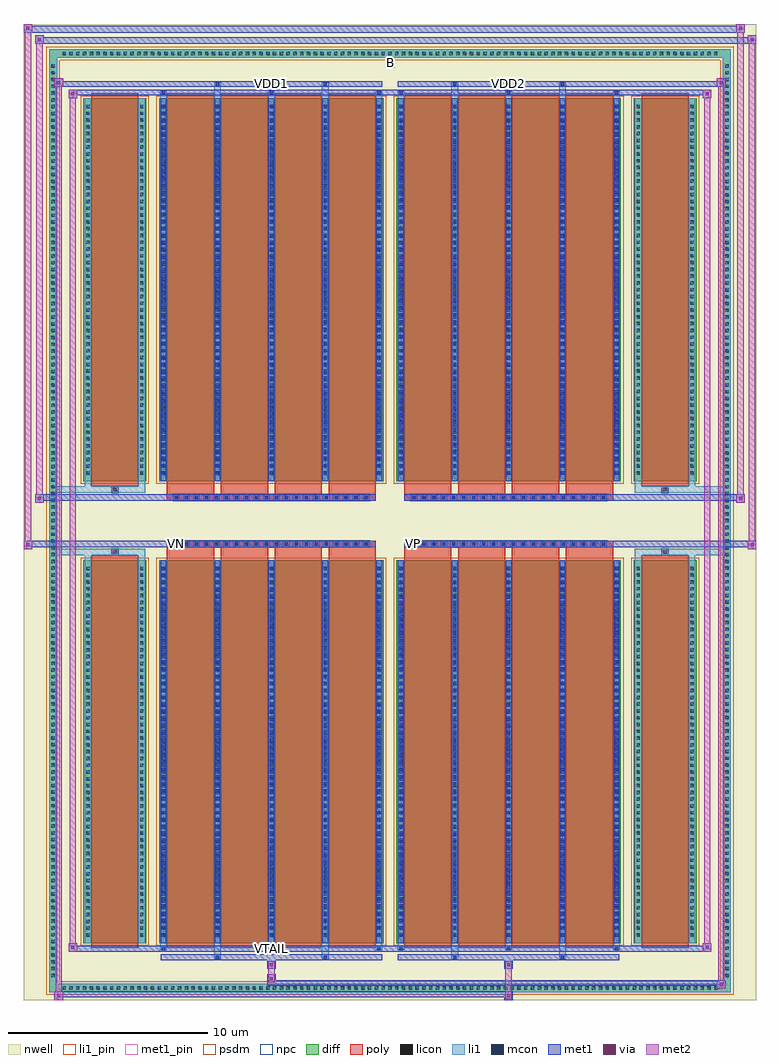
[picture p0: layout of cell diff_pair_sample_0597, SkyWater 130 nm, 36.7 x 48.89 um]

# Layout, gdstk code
import gdstk
lib = gdstk.Library(unit=1e-6, precision=5e-09)
def R(c, l, rs):  # rectangles x0, y0, x1, y1
    for r in rs: c.add(gdstk.rectangle(r[:2], r[2:], *l))
def A(c, l, x, y, w, h, nx, ny, dx, dy):  # array of equal rectangles
    R(c, l, [(x+i*dx, y+j*dy, x+i*dx+w, y+j*dy+h) for i in range(nx) for j in range(ny)])
def P(c, l, *ps):  # polygons
    for p in ps: c.add(gdstk.Polygon(p, *l))
nwell = (64, 20)
diff = (65, 20)
poly = (66, 20)
licon = (66, 44)
li1_pin = (67, 16)
li1 = (67, 20)
mcon = (67, 44)
met1_pin = (68, 16)
met1 = (68, 20)
via = (68, 44)
met2 = (69, 20)
psdm = (94, 20)
npc = (95, 20)

diff_pair_sample_0597 = lib.new_cell('diff_pair_sample_0597')
R(diff_pair_sample_0597, nwell, [(-18.35,-24.01,18.35,24.88), (-15.67,-22.2,-0.01,-0.8), (0.01,-22.2,15.67,-0.8), (-15.67,0.8,-0.01,22.2), (0.01,0.8,15.67,22.2)])
A(diff_pair_sample_0597, diff, -16.525, -23.61, 0.41, 0.41, 97, 2, 0.34, 46.81)
A(diff_pair_sample_0597, diff, -17.08, -22.985, 0.41, 0.41, 1, 135, 0, 0.34)
A(diff_pair_sample_0597, diff, 16.67, -22.985, 0.41, 0.41, 1, 135, 0, 0.34)
R(diff_pair_sample_0597, diff, [(-16.525,-23.61,16.525,-23.2), (-17.08,-22.985,-16.67,22.985), (16.67,-22.985,17.08,22.985), (-15.36,-21.155,-12.21,-1.985), (-11.57,-21.155,-0.32,-1.985), (0.32,-21.155,11.57,-1.985), (12.21,-21.155,15.36,-1.985), (-15.36,1.985,-12.21,21.155), (-11.57,1.985,-0.32,21.155), (0.32,1.985,11.57,21.155), (12.21,1.985,15.36,21.155), (-16.525,23.2,16.525,23.61)])
P(diff_pair_sample_0597, diff, [(17.08,23.61),(-17.08,23.61),(-17.08,-23.2),(-16.67,-23.2),(-16.67,23.2),(16.67,23.2),(16.67,-23.2),(-16.67,-23.2),(-17.08,-23.2),(-17.08,-23.61),(17.08,-23.61)])
A(diff_pair_sample_0597, poly, -11.18, -21.405, 2.37, 19.67, 4, 2, 2.7, 23.14)
A(diff_pair_sample_0597, poly, 0.71, -21.405, 2.37, 19.67, 4, 2, 2.7, 23.14)
A(diff_pair_sample_0597, poly, -11.18, -1.735, 2.37, 0.405, 4, 2, 2.7, 3.065)
A(diff_pair_sample_0597, poly, 0.71, -1.735, 2.37, 0.405, 4, 2, 2.7, 3.065)
A(diff_pair_sample_0597, poly, -10.86, -1.33, 0.33, 0.33, 20, 2, 0.5, 2.33)
A(diff_pair_sample_0597, poly, 1.03, -1.33, 0.33, 0.33, 20, 2, 0.5, 2.33)
R(diff_pair_sample_0597, poly, [(-14.97,-21.405,-12.6,-1.735), (12.6,-21.405,14.97,-1.735), (-13.95,-1.735,-13.62,-1.405), (-13.95,-1.735,-13.62,-1.405), (13.62,-1.735,13.95,-1.405), (13.62,-1.735,13.95,-1.405), (-11.18,-1.33,-0.71,-1), (0.71,-1.33,11.18,-1), (-11.18,1,-0.71,1.33), (0.71,1,11.18,1.33), (-13.95,1.405,-13.62,1.735), (-13.95,1.405,-13.62,1.735), (13.62,1.405,13.95,1.735), (13.62,1.405,13.95,1.735), (-14.97,1.735,-12.6,21.405), (12.6,1.735,14.97,21.405)])
A(diff_pair_sample_0597, licon, -16.405, -23.49, 0.17, 0.17, 97, 2, 0.34, 46.81)
A(diff_pair_sample_0597, licon, -16.96, -22.865, 0.17, 0.17, 1, 135, 0, 0.34)
A(diff_pair_sample_0597, licon, 16.79, -22.865, 0.17, 0.17, 1, 135, 0, 0.34)
A(diff_pair_sample_0597, licon, -15.22, -20.835, 0.17, 0.17, 1, 55, 0, 0.34)
A(diff_pair_sample_0597, licon, -12.52, -20.835, 0.17, 0.17, 1, 55, 0, 0.34)
A(diff_pair_sample_0597, licon, -11.43, -20.835, 0.17, 0.17, 5, 55, 2.7, 0.34)
A(diff_pair_sample_0597, licon, 0.46, -20.835, 0.17, 0.17, 5, 55, 2.7, 0.34)
A(diff_pair_sample_0597, licon, 12.35, -20.835, 0.17, 0.17, 1, 55, 0, 0.34)
A(diff_pair_sample_0597, licon, 15.05, -20.835, 0.17, 0.17, 1, 55, 0, 0.34)
A(diff_pair_sample_0597, licon, -10.78, -1.25, 0.17, 0.17, 20, 2, 0.5, 2.33)
A(diff_pair_sample_0597, licon, 1.11, -1.25, 0.17, 0.17, 20, 2, 0.5, 2.33)
A(diff_pair_sample_0597, licon, -15.22, 2.305, 0.17, 0.17, 1, 55, 0, 0.34)
A(diff_pair_sample_0597, licon, -12.52, 2.305, 0.17, 0.17, 1, 55, 0, 0.34)
A(diff_pair_sample_0597, licon, -11.43, 2.305, 0.17, 0.17, 5, 55, 2.7, 0.34)
A(diff_pair_sample_0597, licon, 0.46, 2.305, 0.17, 0.17, 5, 55, 2.7, 0.34)
A(diff_pair_sample_0597, licon, 12.35, 2.305, 0.17, 0.17, 1, 55, 0, 0.34)
A(diff_pair_sample_0597, licon, 15.05, 2.305, 0.17, 0.17, 1, 55, 0, 0.34)
R(diff_pair_sample_0597, licon, [(-13.87,-1.655,-13.7,-1.485), (13.7,-1.655,13.87,-1.485), (-13.87,1.485,-13.7,1.655), (13.7,1.485,13.87,1.655)])
R(diff_pair_sample_0597, li1_pin, [(-0.25,22.7,0.25,23.2)])
A(diff_pair_sample_0597, li1, -16.485, -23.57, 0.33, 0.33, 97, 2, 0.34, 46.81)
A(diff_pair_sample_0597, li1, -17.04, -22.945, 0.33, 0.33, 1, 135, 0, 0.34)
A(diff_pair_sample_0597, li1, 16.71, -22.945, 0.33, 0.33, 1, 135, 0, 0.34)
A(diff_pair_sample_0597, li1, -11.51, -21.53, 0.33, 0.375, 3, 2, 5.4, 42.685)
A(diff_pair_sample_0597, li1, -11.43, -21.53, 0.17, 0.17, 3, 2, 5.4, 42.89)
A(diff_pair_sample_0597, li1, 0.38, -21.53, 0.33, 0.375, 3, 2, 5.4, 42.685)
A(diff_pair_sample_0597, li1, 0.46, -21.53, 0.17, 0.17, 3, 2, 5.4, 42.89)
A(diff_pair_sample_0597, li1, -11.51, -21.155, 0.33, 19.17, 5, 2, 2.7, 23.14)
A(diff_pair_sample_0597, li1, 0.38, -21.155, 0.33, 19.17, 5, 2, 2.7, 23.14)
A(diff_pair_sample_0597, li1, -15.3, -20.915, 0.33, 0.33, 1, 55, 0, 0.34)
A(diff_pair_sample_0597, li1, -12.6, -20.915, 0.33, 0.33, 1, 55, 0, 0.34)
A(diff_pair_sample_0597, li1, -11.51, -20.915, 0.33, 0.33, 5, 55, 2.7, 0.34)
A(diff_pair_sample_0597, li1, 0.38, -20.915, 0.33, 0.33, 5, 55, 2.7, 0.34)
A(diff_pair_sample_0597, li1, 12.27, -20.915, 0.33, 0.33, 1, 55, 0, 0.34)
A(diff_pair_sample_0597, li1, 14.97, -20.915, 0.33, 0.33, 1, 55, 0, 0.34)
A(diff_pair_sample_0597, li1, -11.43, -20.835, 0.17, 0.17, 5, 52, 2.7, 0.36)
A(diff_pair_sample_0597, li1, -11.43, -20.835, 0.17, 18.53, 5, 2, 2.7, 23.14)
A(diff_pair_sample_0597, li1, 0.46, -20.835, 0.17, 0.17, 5, 52, 2.7, 0.36)
A(diff_pair_sample_0597, li1, 0.46, -20.835, 0.17, 18.53, 5, 2, 2.7, 23.14)
A(diff_pair_sample_0597, li1, -10.86, -1.33, 0.33, 0.33, 20, 2, 0.5, 2.33)
A(diff_pair_sample_0597, li1, 1.03, -1.33, 0.33, 0.33, 20, 2, 0.5, 2.33)
A(diff_pair_sample_0597, li1, -15.3, 2.225, 0.33, 0.33, 1, 55, 0, 0.34)
A(diff_pair_sample_0597, li1, -12.6, 2.225, 0.33, 0.33, 1, 55, 0, 0.34)
A(diff_pair_sample_0597, li1, -11.51, 2.225, 0.33, 0.33, 5, 55, 2.7, 0.34)
A(diff_pair_sample_0597, li1, 0.38, 2.225, 0.33, 0.33, 5, 55, 2.7, 0.34)
A(diff_pair_sample_0597, li1, 12.27, 2.225, 0.33, 0.33, 1, 55, 0, 0.34)
A(diff_pair_sample_0597, li1, 14.97, 2.225, 0.33, 0.33, 1, 55, 0, 0.34)
A(diff_pair_sample_0597, li1, -11.43, 2.305, 0.17, 0.17, 5, 52, 2.7, 0.36)
A(diff_pair_sample_0597, li1, 0.46, 2.305, 0.17, 0.17, 5, 52, 2.7, 0.36)
R(diff_pair_sample_0597, li1, [(-17.08,-23.61,-16.67,-23.2), (-17.08,-23.61,-16.67,-23.2), (-16.67,-23.61,16.67,-23.2), (16.67,-23.61,17.08,-23.2), (16.67,-23.61,17.08,-23.2), (-17.08,-23.2,-16.67,23.2), (16.67,-23.2,17.08,23.2), (-8.81,-21.96,-8.48,-21.155), (-8.73,-21.96,-8.56,-21.79), (-3.41,-21.96,-3.08,-21.155), (-3.33,-21.96,-3.16,-21.79), (3.08,-21.96,3.41,-21.155), (3.16,-21.96,3.33,-21.79), (8.48,-21.96,8.81,-21.155), (8.56,-21.96,8.73,-21.79), (-15.3,-21.155,-14.97,-1.985), (-12.6,-21.155,-12.27,-1.985), (12.27,-21.155,12.6,-1.985), (14.97,-21.155,15.3,-1.985), (-15.3,-1.985,-14.97,-1.405), (-12.6,-1.985,-12.27,-1.405), (12.27,-1.985,12.6,-1.405), (14.97,-1.985,15.3,-1.405), (-17.08,-1.735,-13.95,-1.405), (-15.3,-1.735,-13.95,-1.405), (-13.95,-1.735,-13.62,-1.405), (-13.62,-1.735,-12.27,-1.405), (12.27,-1.735,13.62,-1.405), (13.62,-1.735,13.95,-1.405), (13.62,-1.735,17.08,-1.405), (13.95,-1.735,15.3,-1.405), (-17.08,1.405,-13.95,1.735), (-15.3,1.405,-13.95,1.735), (-15.3,1.405,-14.97,1.985), (-13.95,1.405,-13.62,1.735), (-13.62,1.405,-12.27,1.735), (-12.6,1.405,-12.27,1.985), (12.27,1.405,13.62,1.735), (12.27,1.405,12.6,1.985), (13.62,1.405,13.95,1.735), (13.62,1.405,17.08,1.735), (13.95,1.405,15.3,1.735), (14.97,1.405,15.3,1.985), (-15.3,1.985,-14.97,21.155), (-12.6,1.985,-12.27,21.155), (12.27,1.985,12.6,21.155), (14.97,1.985,15.3,21.155), (-8.81,21.155,-8.48,21.96), (-3.41,21.155,-3.08,21.96), (3.08,21.155,3.41,21.96), (8.48,21.155,8.81,21.96), (-8.73,21.79,-8.56,21.96), (-3.33,21.79,-3.16,21.96), (3.16,21.79,3.33,21.96), (8.56,21.79,8.73,21.96), (-17.08,23.2,-16.67,23.61), (-17.08,23.2,-16.67,23.61), (-16.67,23.2,16.67,23.61), (16.67,23.2,17.08,23.61), (16.67,23.2,17.08,23.61)])
A(diff_pair_sample_0597, mcon, -11.43, -21.53, 0.17, 0.17, 3, 2, 5.4, 42.89)
A(diff_pair_sample_0597, mcon, 0.46, -21.53, 0.17, 0.17, 3, 2, 5.4, 42.89)
A(diff_pair_sample_0597, mcon, -11.43, -20.835, 0.17, 0.17, 5, 52, 2.7, 0.36)
A(diff_pair_sample_0597, mcon, 0.46, -20.835, 0.17, 0.17, 5, 52, 2.7, 0.36)
A(diff_pair_sample_0597, mcon, -10.78, -1.25, 0.17, 0.17, 20, 2, 0.5, 2.33)
A(diff_pair_sample_0597, mcon, 1.11, -1.25, 0.17, 0.17, 20, 2, 0.5, 2.33)
A(diff_pair_sample_0597, mcon, -11.43, 2.305, 0.17, 0.17, 5, 52, 2.7, 0.36)
A(diff_pair_sample_0597, mcon, 0.46, 2.305, 0.17, 0.17, 5, 52, 2.7, 0.36)
R(diff_pair_sample_0597, mcon, [(-8.73,-21.96,-8.56,-21.79), (-3.33,-21.96,-3.16,-21.79), (3.16,-21.96,3.33,-21.79), (8.56,-21.96,8.73,-21.79), (-8.73,21.79,-8.56,21.96), (-3.33,21.79,-3.16,21.96), (3.16,21.79,3.33,21.96), (8.56,21.79,8.73,21.96)])
R(diff_pair_sample_0597, met1_pin, [(-6.08,-21.57,-5.81,-21.3), (-10.83,-1.29,-10.56,-1.02), (1.06,-1.29,1.33,-1.02), (-6.08,21.75,-5.81,22.02), (5.81,21.75,6.08,22.02)])
A(diff_pair_sample_0597, met1, -11.49, -21.59, 0.29, 0.29, 3, 2, 5.4, 42.89)
A(diff_pair_sample_0597, met1, 0.4, -21.59, 0.29, 0.29, 3, 2, 5.4, 42.89)
A(diff_pair_sample_0597, met1, -11.49, -21.155, 0.29, 19.17, 5, 2, 2.7, 23.14)
A(diff_pair_sample_0597, met1, 0.4, -21.155, 0.29, 19.17, 5, 2, 2.7, 23.14)
A(diff_pair_sample_0597, met1, -11.49, -20.895, 0.29, 0.29, 5, 52, 2.7, 0.36)
A(diff_pair_sample_0597, met1, 0.4, -20.895, 0.29, 0.29, 5, 52, 2.7, 0.36)
A(diff_pair_sample_0597, met1, -10.84, -1.31, 0.29, 0.29, 20, 2, 0.5, 2.33)
A(diff_pair_sample_0597, met1, 1.05, -1.31, 0.29, 0.29, 20, 2, 0.5, 2.33)
A(diff_pair_sample_0597, met1, -11.49, 2.245, 0.29, 0.29, 5, 52, 2.7, 0.36)
A(diff_pair_sample_0597, met1, 0.4, 2.245, 0.29, 0.29, 5, 52, 2.7, 0.36)
R(diff_pair_sample_0597, met1, [(-16.81,-24.01,-16.38,-23.58), (5.73,-24.01,6.16,-23.58), (-16.81,-23.87,6.16,-23.58), (16.38,-23.44,16.81,-23.01), (-6.16,-23.3,16.81,-23.01), (-6.16,-23.16,-5.73,-22.73), (-6.16,-22.45,-5.73,-22.02), (5.73,-22.45,6.16,-22.02), (-11.49,-22.02,-0.4,-21.73), (-8.79,-22.02,-8.5,-21.73), (-3.39,-22.02,-3.1,-21.73), (0.4,-22.02,11.49,-21.73), (3.1,-22.02,3.39,-21.73), (8.5,-22.02,8.79,-21.73), (-16.1,-21.59,-15.67,-21.16), (-16.1,-21.59,-11.49,-21.3), (-11.49,-21.59,-0.4,-21.3), (-0.4,-21.59,0.4,-21.3), (0.4,-21.59,11.49,-21.3), (11.49,-21.59,16.1,-21.3), (15.67,-21.59,16.1,-21.16), (-18.35,-1.43,-17.92,-1), (17.92,-1.43,18.35,-1), (-18.35,-1.33,-0.71,-1), (-11.18,-1.33,-0.71,-1), (0.71,-1.33,11.18,-1), (0.71,-1.33,18.35,-1), (-17.78,0.9,-17.35,1.33), (17.35,0.9,17.78,1.33), (-17.78,1,-11.18,1.33), (-11.18,1,-0.71,1.33), (0.71,1,11.18,1.33), (11.18,1,17.78,1.33), (-16.1,21.16,-15.67,21.59), (15.67,21.16,16.1,21.59), (-16.1,21.3,-11.49,21.59), (-11.49,21.3,-0.4,21.59), (-0.4,21.3,0.4,21.59), (0.4,21.3,11.49,21.59), (11.49,21.3,16.1,21.59), (-16.81,21.73,-16.38,22.16), (-16.81,21.73,-11.49,22.02), (-11.49,21.73,-0.4,22.02), (-8.79,21.73,-8.5,22.02), (-3.39,21.73,-3.1,22.02), (0.4,21.73,11.49,22.02), (3.1,21.73,3.39,22.02), (8.5,21.73,8.79,22.02), (11.49,21.73,16.81,22.02), (16.38,21.73,16.81,22.16), (-17.78,23.88,-17.35,24.31), (-17.78,23.88,-15.67,24.21), (-15.67,23.88,15.67,24.21), (15.67,23.88,18.35,24.21), (17.92,23.88,18.35,24.31), (-18.35,24.45,-17.92,24.88), (-18.35,24.45,-15.67,24.78), (-15.67,24.45,15.67,24.78), (15.67,24.45,17.78,24.78), (17.35,24.45,17.78,24.88)])
R(diff_pair_sample_0597, via, [(-16.67,-23.87,-16.52,-23.72), (5.87,-23.87,6.02,-23.72), (16.52,-23.3,16.67,-23.15), (-6.02,-23.02,-5.87,-22.87), (-6.02,-22.31,-5.87,-22.16), (5.87,-22.31,6.02,-22.16), (-15.96,-21.45,-15.81,-21.3), (15.81,-21.45,15.96,-21.3), (-18.21,-1.29,-18.06,-1.14), (18.06,-1.29,18.21,-1.14), (-17.64,1.04,-17.49,1.19), (17.49,1.04,17.64,1.19), (-15.96,21.3,-15.81,21.45), (15.81,21.3,15.96,21.45), (-16.67,21.87,-16.52,22.02), (16.52,21.87,16.67,22.02), (-17.64,24.02,-17.49,24.17), (18.06,24.02,18.21,24.17), (-18.21,24.59,-18.06,24.74), (17.49,24.59,17.64,24.74)])
R(diff_pair_sample_0597, met2, [(-16.81,-24.01,-16.38,-23.58), (-16.74,-24.01,-16.45,22.16), (-16.45,-24.01,-16.38,-23.58), (-16.76,-23.96,-16.43,-23.63), (5.78,-23.96,6.11,-23.63), (5.78,-23.63,6.11,-22.4), (16.38,-23.44,16.81,-23.01), (16.45,-23.44,16.74,22.16), (16.74,-23.44,16.81,-23.01), (16.43,-23.39,16.76,-23.06), (-6.11,-23.11,-5.78,-22.78), (-6.11,-22.78,-5.78,-22.4), (-6.11,-22.4,-5.78,-22.07), (5.78,-22.4,6.11,-22.07), (-16.1,-21.59,-15.67,-21.16), (-16.03,-21.59,-15.74,21.59), (-15.74,-21.59,-15.67,-21.16), (15.67,-21.59,16.1,-21.16), (15.74,-21.59,16.03,21.59), (16.03,-21.59,16.1,-21.16), (-16.05,-21.54,-15.72,-21.21), (15.72,-21.54,16.05,-21.21), (-18.35,-1.43,-17.92,-1), (-18.3,-1.43,-17.97,24.88), (-17.97,-1.43,-17.92,-1), (17.92,-1.43,18.35,-1), (17.97,-1.43,18.3,24.31), (18.3,-1.43,18.35,-1), (-18.3,-1.38,-17.97,-1.05), (17.97,-1.38,18.3,-1.05), (-17.78,0.9,-17.35,1.33), (-17.73,0.9,-17.4,24.31), (-17.4,0.9,-17.35,1.33), (17.35,0.9,17.78,1.33), (17.4,0.9,17.73,24.88), (17.73,0.9,17.78,1.33), (-17.73,0.95,-17.4,1.28), (17.4,0.95,17.73,1.28), (-16.1,21.16,-15.67,21.59), (-15.74,21.16,-15.67,21.59), (15.67,21.16,16.1,21.59), (16.03,21.16,16.1,21.59), (-16.05,21.21,-15.72,21.54), (15.72,21.21,16.05,21.54), (-16.81,21.73,-16.38,22.16), (-16.45,21.73,-16.38,22.16), (16.38,21.73,16.81,22.16), (16.74,21.73,16.81,22.16), (-16.76,21.78,-16.43,22.11), (16.43,21.78,16.76,22.11), (-17.78,23.88,-17.35,24.31), (-17.4,23.88,-17.35,24.31), (17.92,23.88,18.35,24.31), (18.3,23.88,18.35,24.31), (-17.73,23.93,-17.4,24.26), (17.97,23.93,18.3,24.26), (-18.35,24.45,-17.92,24.88), (-17.97,24.45,-17.92,24.88), (17.35,24.45,17.78,24.88), (17.73,24.45,17.78,24.88), (-18.3,24.5,-17.97,24.83), (17.4,24.5,17.73,24.83)])
R(diff_pair_sample_0597, psdm, [(-15.49,-21.285,-12.08,-1.855), (-11.7,-21.285,-0.19,-1.855), (0.19,-21.285,11.7,-1.855), (12.08,-21.285,15.49,-1.855), (-15.49,1.855,-12.08,21.285), (-11.7,1.855,-0.19,21.285), (0.19,1.855,11.7,21.285), (12.08,1.855,15.49,21.285)])
P(diff_pair_sample_0597, psdm, [(17.21,23.74),(-17.21,23.74),(-17.21,-23.07),(-16.54,-23.07),(-16.54,23.07),(16.54,23.07),(16.54,-23.07),(-16.54,-23.07),(-17.21,-23.07),(-17.21,-23.74),(17.21,-23.74)])
A(diff_pair_sample_0597, npc, -10.88, -1.35, 0.37, 0.37, 20, 2, 0.5, 2.33)
A(diff_pair_sample_0597, npc, 1.01, -1.35, 0.37, 0.37, 20, 2, 0.5, 2.33)
R(diff_pair_sample_0597, npc, [(-13.97,-1.755,-13.6,-1.385), (13.6,-1.755,13.97,-1.385), (-10.88,-1.35,-10.01,-0.98), (-10.88,-1.35,-10.01,-0.98), (-10.38,-1.35,-9.51,-0.98), (-10.38,-1.35,-9.51,-0.98), (-9.88,-1.35,-9.01,-0.98), (-9.88,-1.35,-9.01,-0.98), (-9.38,-1.35,-8.51,-0.98), (-9.38,-1.35,-8.51,-0.98), (-8.88,-1.35,-8.01,-0.98), (-8.88,-1.35,-8.01,-0.98), (-8.38,-1.35,-7.51,-0.98), (-8.38,-1.35,-7.51,-0.98), (-7.88,-1.35,-7.01,-0.98), (-7.88,-1.35,-7.01,-0.98), (-7.38,-1.35,-6.51,-0.98), (-7.38,-1.35,-6.51,-0.98), (-6.88,-1.35,-6.01,-0.98), (-6.88,-1.35,-6.01,-0.98), (-6.38,-1.35,-5.51,-0.98), (-6.38,-1.35,-5.51,-0.98), (-5.88,-1.35,-5.01,-0.98), (-5.88,-1.35,-5.01,-0.98), (-5.38,-1.35,-4.51,-0.98), (-5.38,-1.35,-4.51,-0.98), (-4.88,-1.35,-4.01,-0.98), (-4.88,-1.35,-4.01,-0.98), (-4.38,-1.35,-3.51,-0.98), (-4.38,-1.35,-3.51,-0.98), (-3.88,-1.35,-3.01,-0.98), (-3.88,-1.35,-3.01,-0.98), (-3.38,-1.35,-2.51,-0.98), (-3.38,-1.35,-2.51,-0.98), (-2.88,-1.35,-2.01,-0.98), (-2.88,-1.35,-2.01,-0.98), (-2.38,-1.35,-1.51,-0.98), (-2.38,-1.35,-1.51,-0.98), (-1.88,-1.35,-1.01,-0.98), (-1.88,-1.35,-1.01,-0.98), (1.01,-1.35,1.88,-0.98), (1.01,-1.35,1.88,-0.98), (1.51,-1.35,2.38,-0.98), (1.51,-1.35,2.38,-0.98), (2.01,-1.35,2.88,-0.98), (2.01,-1.35,2.88,-0.98), (2.51,-1.35,3.38,-0.98), (2.51,-1.35,3.38,-0.98), (3.01,-1.35,3.88,-0.98), (3.01,-1.35,3.88,-0.98), (3.51,-1.35,4.38,-0.98), (3.51,-1.35,4.38,-0.98), (4.01,-1.35,4.88,-0.98), (4.01,-1.35,4.88,-0.98), (4.51,-1.35,5.38,-0.98), (4.51,-1.35,5.38,-0.98), (5.01,-1.35,5.88,-0.98), (5.01,-1.35,5.88,-0.98), (5.51,-1.35,6.38,-0.98), (5.51,-1.35,6.38,-0.98), (6.01,-1.35,6.88,-0.98), (6.01,-1.35,6.88,-0.98), (6.51,-1.35,7.38,-0.98), (6.51,-1.35,7.38,-0.98), (7.01,-1.35,7.88,-0.98), (7.01,-1.35,7.88,-0.98), (7.51,-1.35,8.38,-0.98), (7.51,-1.35,8.38,-0.98), (8.01,-1.35,8.88,-0.98), (8.01,-1.35,8.88,-0.98), (8.51,-1.35,9.38,-0.98), (8.51,-1.35,9.38,-0.98), (9.01,-1.35,9.88,-0.98), (9.01,-1.35,9.88,-0.98), (9.51,-1.35,10.38,-0.98), (9.51,-1.35,10.38,-0.98), (10.01,-1.35,10.88,-0.98), (10.01,-1.35,10.88,-0.98), (-10.88,0.98,-10.01,1.35), (-10.88,0.98,-10.01,1.35), (-10.38,0.98,-9.51,1.35), (-10.38,0.98,-9.51,1.35), (-9.88,0.98,-9.01,1.35), (-9.88,0.98,-9.01,1.35), (-9.38,0.98,-8.51,1.35), (-9.38,0.98,-8.51,1.35), (-8.88,0.98,-8.01,1.35), (-8.88,0.98,-8.01,1.35), (-8.38,0.98,-7.51,1.35), (-8.38,0.98,-7.51,1.35), (-7.88,0.98,-7.01,1.35), (-7.88,0.98,-7.01,1.35), (-7.38,0.98,-6.51,1.35), (-7.38,0.98,-6.51,1.35), (-6.88,0.98,-6.01,1.35), (-6.88,0.98,-6.01,1.35), (-6.38,0.98,-5.51,1.35), (-6.38,0.98,-5.51,1.35), (-5.88,0.98,-5.01,1.35), (-5.88,0.98,-5.01,1.35), (-5.38,0.98,-4.51,1.35), (-5.38,0.98,-4.51,1.35), (-4.88,0.98,-4.01,1.35), (-4.88,0.98,-4.01,1.35), (-4.38,0.98,-3.51,1.35), (-4.38,0.98,-3.51,1.35), (-3.88,0.98,-3.01,1.35), (-3.88,0.98,-3.01,1.35), (-3.38,0.98,-2.51,1.35), (-3.38,0.98,-2.51,1.35), (-2.88,0.98,-2.01,1.35), (-2.88,0.98,-2.01,1.35), (-2.38,0.98,-1.51,1.35), (-2.38,0.98,-1.51,1.35), (-1.88,0.98,-1.01,1.35), (-1.88,0.98,-1.01,1.35), (1.01,0.98,1.88,1.35), (1.01,0.98,1.88,1.35), (1.51,0.98,2.38,1.35), (1.51,0.98,2.38,1.35), (2.01,0.98,2.88,1.35), (2.01,0.98,2.88,1.35), (2.51,0.98,3.38,1.35), (2.51,0.98,3.38,1.35), (3.01,0.98,3.88,1.35), (3.01,0.98,3.88,1.35), (3.51,0.98,4.38,1.35), (3.51,0.98,4.38,1.35), (4.01,0.98,4.88,1.35), (4.01,0.98,4.88,1.35), (4.51,0.98,5.38,1.35), (4.51,0.98,5.38,1.35), (5.01,0.98,5.88,1.35), (5.01,0.98,5.88,1.35), (5.51,0.98,6.38,1.35), (5.51,0.98,6.38,1.35), (6.01,0.98,6.88,1.35), (6.01,0.98,6.88,1.35), (6.51,0.98,7.38,1.35), (6.51,0.98,7.38,1.35), (7.01,0.98,7.88,1.35), (7.01,0.98,7.88,1.35), (7.51,0.98,8.38,1.35), (7.51,0.98,8.38,1.35), (8.01,0.98,8.88,1.35), (8.01,0.98,8.88,1.35), (8.51,0.98,9.38,1.35), (8.51,0.98,9.38,1.35), (9.01,0.98,9.88,1.35), (9.01,0.98,9.88,1.35), (9.51,0.98,10.38,1.35), (9.51,0.98,10.38,1.35), (10.01,0.98,10.88,1.35), (10.01,0.98,10.88,1.35), (-13.97,1.385,-13.6,1.755), (13.6,1.385,13.97,1.755)])
diff_pair_sample_0597.add(gdstk.Label('VTAIL', (-5.945,-21.435), layer=68, texttype=5))
diff_pair_sample_0597.add(gdstk.Label('VN', (-10.695,-1.155), layer=68, texttype=5))
diff_pair_sample_0597.add(gdstk.Label('VP', (1.195,-1.155), layer=68, texttype=5))
diff_pair_sample_0597.add(gdstk.Label('B', (0,22.95), layer=67, texttype=5))
diff_pair_sample_0597.add(gdstk.Label('VDD2', (5.945,21.885), layer=68, texttype=5))
diff_pair_sample_0597.add(gdstk.Label('VDD1', (-5.945,21.885), layer=68, texttype=5))

lib.write_gds('diff_pair_sample_0597.gds')
